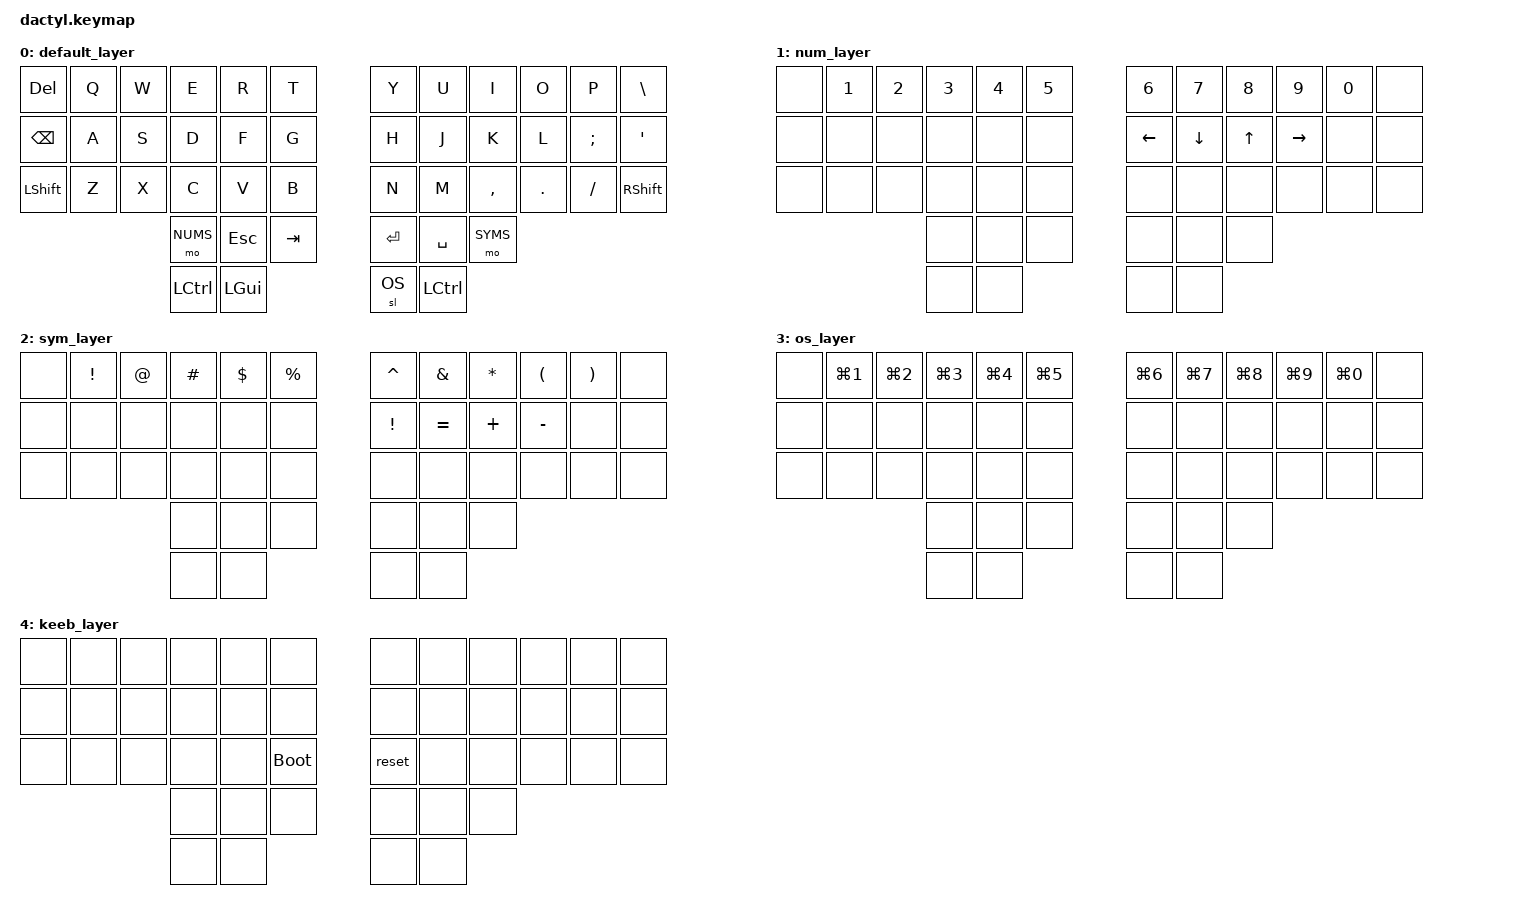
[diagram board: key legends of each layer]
#include <behaviors.dtsi>
#include <dt-bindings/zmk/keys.h>
#include <dt-bindings/zmk/bt.h>
#include <dt-bindings/zmk/outputs.h>

#define DEFAULT 0
#define NUMS 1
#define SYMS 2
#define OS   3
#define KEEB 4

#define HYPER(key) LS(LC(LA(LG(key))))
#define MEH(key)   LS(LC(LA(key)))

&sl {
    release-after-ms = <2000>;
};

/ {
    keymap {
        compatible = "zmk,keymap";

        default_layer {
            bindings = <
    &kp DEL   &kp Q     &kp W    &kp E     &kp R     &kp T                    &kp Y     &kp U     &kp I     &kp O     &kp P    &kp BSLH
    &kp BSPC  &kp A     &kp S    &kp D     &kp F     &kp G                    &kp H     &kp J     &kp K     &kp L     &kp SEMI &kp SQT
    &kp LSHFT &kp Z     &kp X    &kp C     &kp V     &kp B                    &kp N     &kp M     &kp COMMA &kp DOT   &kp FSLH &kp RSHFT
                                 &mo NUMS  &kp ESC   &kp TAB                  &kp RET   &kp SPC  &mo SYMS
                                 &kp LCTRL &kp LGUI                           &sl OS     &kp LCTRL   
            >;
        };

        num_layer {
            bindings = <
    &none   &kp N1   &kp N2   &kp N3   &kp N4   &kp N5                &kp N6     &kp N7     &kp N8   &kp N9      &kp N0 &none
    &none   &none   &none   &none   &none   &none                     &kp LEFT   &kp DOWN   &kp UP   &kp RIGHT   &none   &none
    &none   &none   &none   &none   &none   &none                     &none    &none   &none   &none   &none   &none   
                            &none   &none   &none                     &none   &none   &none   
                                    &none   &none                     &none   &none   
            >;
        };

        sym_layer {
            bindings = <
    &none   &kp EXCL &kp AT   &kp HASH &kp DLLR &kp PRCNT             &kp CARET &kp AMPS &kp STAR  &kp LPAR    &kp RPAR    &none
    &none   &none   &none   &none   &none   &none                     &kp EXCL  &kp EQUAL &kp PLUS &kp MINUS   &none   &none   
    &none   &none   &none   &none   &none   &none                     &none    &none   &none   &none   &none   &none   
                            &none   &none   &none                     &none    &none   &none   
                                    &none   &none                     &none    &none   
            >;
        };

        os_layer {
            bindings = <
&none &kp LG(N1) &kp LG(N2) &kp LG(N3) &kp LG(N4) &kp LG(N5)               &kp LG(N6) &kp LG(N7) &kp LG(N8) &kp LG(N9) &kp LG(N0) &none   
    &none   &none   &none   &none   &none   &none                     &none   &none   &none   &none   &none   &none   
    &none   &none   &none   &none   &none   &none                     &none   &none   &none   &none   &none   &none   
                            &none   &none   &none                     &none   &none   &none   
                                    &none   &none                     &none   &none   
            >;
        };
        
        keeb_layer {
            bindings = <
    &none   &none   &none   &none   &none   &none                     &none   &none   &none   &none   &none   &none   
    &none   &none   &none   &none   &none   &none                     &none   &none   &none   &none   &none   &none   
    &none   &none   &none   &none   &none   &bootloader               &reset   &none   &none   &none   &none   &none   
                            &none   &none   &none                     &none   &none   &none   
                                    &none   &none                     &none   &none   
            >;
        };

    };
};
